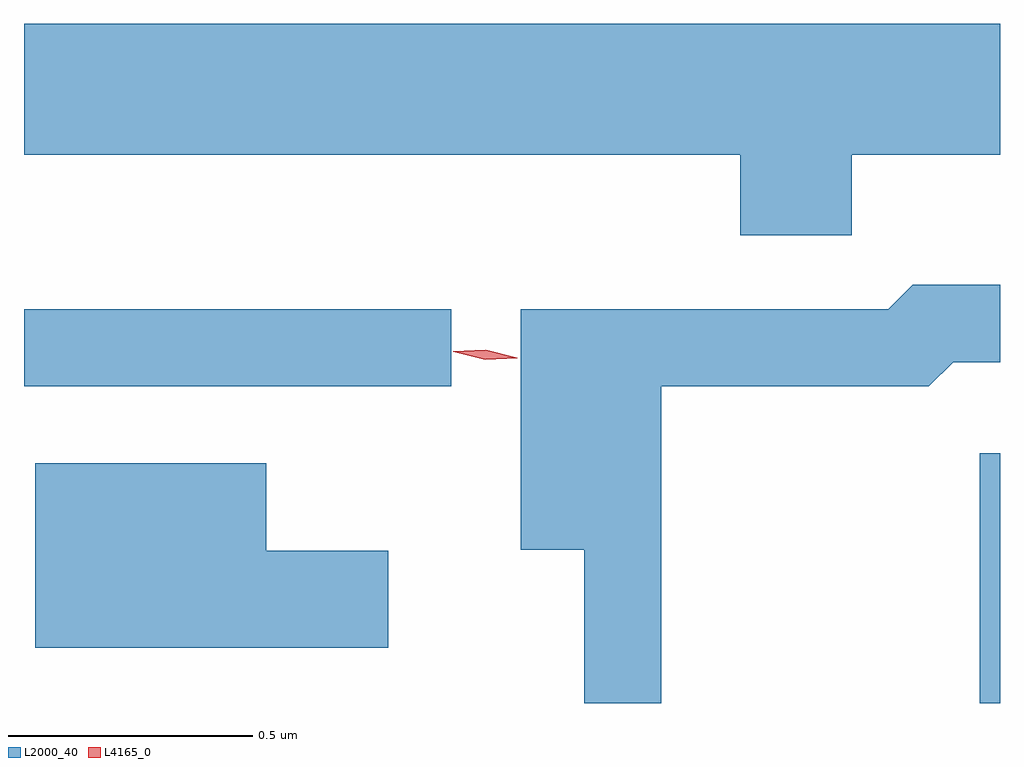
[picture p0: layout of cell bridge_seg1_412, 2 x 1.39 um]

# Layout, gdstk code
import gdstk
lib = gdstk.Library(unit=1e-6, precision=1e-09)
def R(c, l, rs):  # rectangles x0, y0, x1, y1
    for r in rs: c.add(gdstk.rectangle(r[:2], r[2:], *l))
def P(c, l, *ps):  # polygons
    for p in ps: c.add(gdstk.Polygon(p, *l))
L2000_40 = (2000, 40)
L4165_0 = (4165, 0)

bridge_seg1_412 = lib.new_cell('bridge_seg1_412')
R(bridge_seg1_412, L2000_40, [(605.606,962.832,605.648,963.344), (603.648,963.481,604.523,963.639)])
P(bridge_seg1_412, L2000_40, [(605.344,963.956),(605.648,963.956),(605.648,964.224),(603.648,964.224),(603.648,963.956),(605.116,963.956),(605.116,963.791),(605.344,963.791)],
  [(604.954,963.481),(605.502,963.481),(605.552,963.531),(605.648,963.531),(605.648,963.689),(605.469,963.689),(605.419,963.639),(604.666,963.639),(604.666,963.146),(604.796,963.146),(604.796,962.832),(604.954,962.832)],
  [(604.394,963.144),(604.144,963.144),(604.144,963.324),(603.671,963.324),(603.671,962.946),(604.394,962.946)])
P(bridge_seg1_412, L4165_0, [(604.593,963.536),(604.528,963.552),(604.528,963.553),(604.528,963.553),(604.594,963.556),(604.659,963.54),(604.659,963.54),(604.659,963.539)])

lib.write_gds('bridge_seg1_412.gds')
